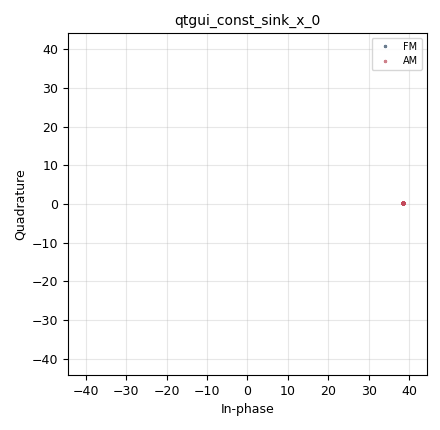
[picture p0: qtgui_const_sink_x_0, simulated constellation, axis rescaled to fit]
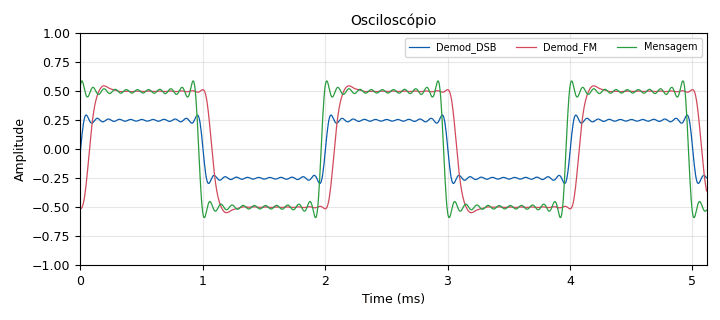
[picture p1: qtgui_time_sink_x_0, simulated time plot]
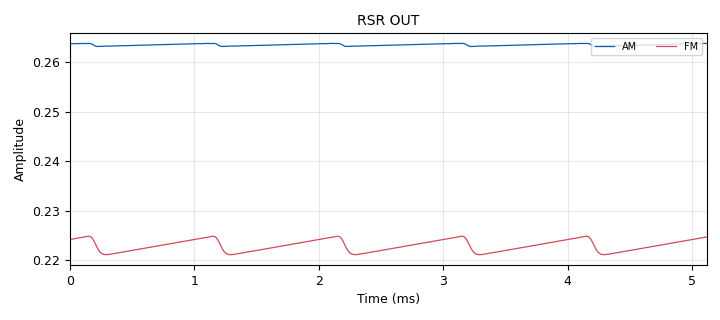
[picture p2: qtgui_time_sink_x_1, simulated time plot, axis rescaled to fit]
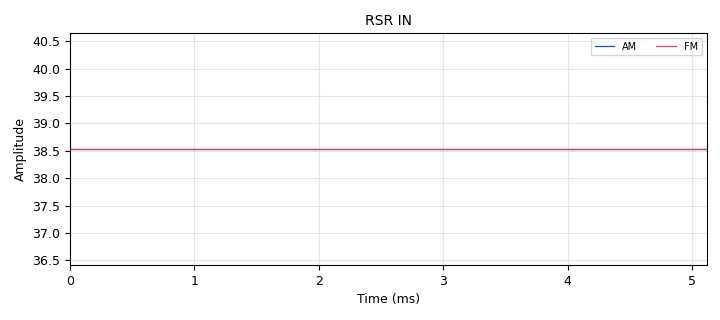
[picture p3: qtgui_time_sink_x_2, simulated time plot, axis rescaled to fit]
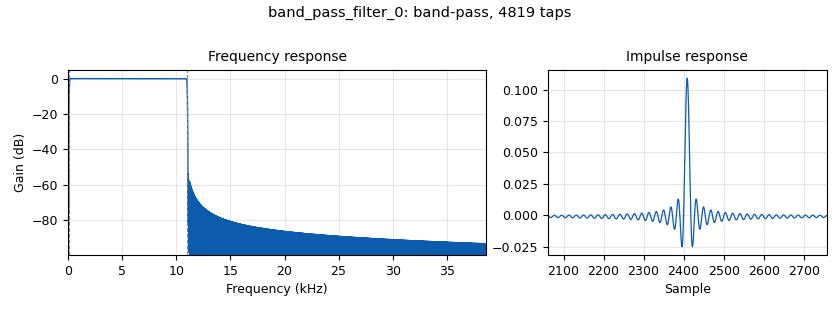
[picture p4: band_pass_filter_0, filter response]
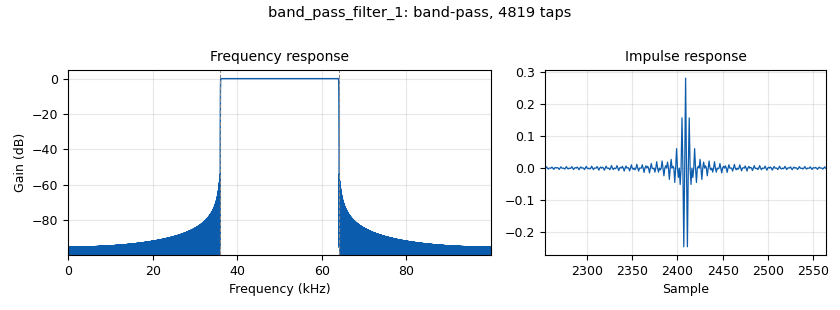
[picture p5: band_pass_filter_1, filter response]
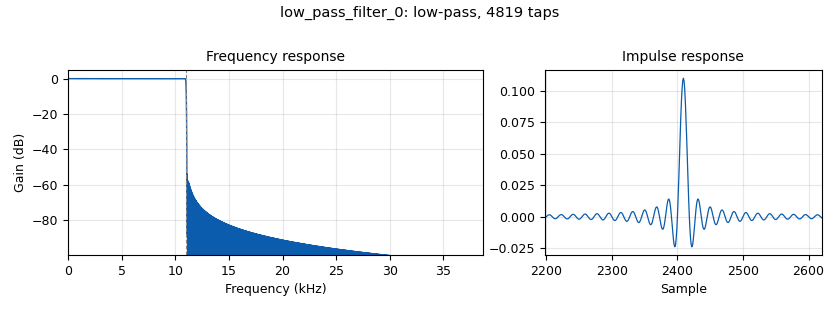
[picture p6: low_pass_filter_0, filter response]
options:
  parameters:
    author: pedro
    generate_options: qt_gui
    id: m180108140_Exp06_AR02
    output_language: python
    title: AR02
  states: {}

blocks:
- name: A
  id: variable_qtgui_range
  parameters:
    gui_hint: (1,4,1,1)
    orient: Qt.Horizontal
    start: '0'
    step: '0.1'
    stop: '1'
    value: '0.5'
  states: {}
- name: Delay_AM
  id: variable_qtgui_range
  parameters:
    gui_hint: (5,4,1,1)
    orient: Qt.Horizontal
    start: '0'
    step: '1'
    stop: '400'
    value: '0'
  states: {}
- name: Delay_FM
  id: variable_qtgui_range
  parameters:
    gui_hint: (6,4,1,1)
    orient: Qt.Horizontal
    start: '0'
    step: '1'
    stop: '400'
    value: '0'
  states: {}
- name: G_demod_AM
  id: variable_qtgui_range
  parameters:
    gui_hint: (4,4,1,1)
    orient: Qt.Horizontal
    start: '0'
    step: '1'
    stop: '100'
    value: '1'
  states: {}
- name: G_ruido_AM
  id: variable_qtgui_range
  parameters:
    gui_hint: (2,4,1,1)
    orient: Qt.Horizontal
    start: '0'
    step: '0.1'
    stop: '10'
    value: '0'
  states: {}
- name: G_ruido_FM
  id: variable_qtgui_range
  parameters:
    gui_hint: (3,4,1,1)
    orient: Qt.Horizontal
    start: '0'
    step: '0.1'
    stop: '10'
    value: '0'
  states: {}
- name: pi
  id: variable
  parameters:
    value: '3.14159265359'
  states: {}
- name: samp_rate
  id: variable
  parameters:
    value: '200000'
  states: {}
- name: analog_noise_source_x_0
  id: analog_noise_source_x
  parameters:
    amp: '1'
    noise_type: analog.GR_GAUSSIAN
    seed: '0'
    type: complex
  states: {}
- name: analog_pll_freqdet_cf_0
  id: analog_pll_freqdet_cf
  parameters:
    max_freq: '2.01056'
    min_freq: '1.13094'
    w: '0.06283'
  states: {}
- name: analog_sig_source_x_0
  id: analog_sig_source_x
  parameters:
    amp: 2*A
    freq: '500'
    offset: '-A'
    phase: '0'
    samp_rate: samp_rate
    type: float
    waveform: analog.GR_SQR_WAVE
  states: {}
- name: analog_sig_source_x_0_0
  id: analog_sig_source_x
  parameters:
    amp: '1'
    freq: '50000'
    offset: '0'
    phase: '0'
    samp_rate: samp_rate
    type: complex
    waveform: analog.GR_COS_WAVE
  states: {}
- name: band_pass_filter_0
  id: band_pass_filter
  parameters:
    decim: '1'
    gain: '1'
    high_cutoff_freq: '11000'
    low_cutoff_freq: '100'
    samp_rate: samp_rate
    type: fir_filter_fff
    width: '100'
    win: firdes.WIN_HAMMING
  states: {}
- name: band_pass_filter_1
  id: band_pass_filter
  parameters:
    decim: '1'
    gain: '1'
    high_cutoff_freq: '64000'
    low_cutoff_freq: '36000'
    samp_rate: samp_rate
    type: fir_filter_fff
    width: '100'
    win: firdes.WIN_HAMMING
  states: {}
- name: band_pass_filter_1_0
  id: band_pass_filter
  parameters:
    decim: '1'
    gain: '1'
    high_cutoff_freq: '64000'
    low_cutoff_freq: '36000'
    samp_rate: samp_rate
    type: fir_filter_ccf
    width: '100'
    win: firdes.WIN_HAMMING
  states: {}
- name: blocks_abs_xx_0
  id: blocks_abs_xx
  parameters:
    type: float
  states: {}
- name: blocks_add_const_vxx_0
  id: blocks_add_const_vxx
  parameters:
    const: '1'
    type: float
  states: {}
- name: blocks_add_const_vxx_1
  id: blocks_add_const_vxx
  parameters:
    const: '-1.57075'
    type: float
  states: {}
- name: blocks_add_xx_0
  id: blocks_add_xx
  parameters:
    type: float
  states: {}
- name: blocks_add_xx_1
  id: blocks_add_xx
  parameters:
    type: complex
  states: {}
- name: blocks_complex_to_real_0
  id: blocks_complex_to_real
  parameters: {}
  states: {}
- name: blocks_complex_to_real_1
  id: blocks_complex_to_real
  parameters: {}
  states: {}
- name: blocks_complex_to_real_2
  id: blocks_complex_to_real
  parameters: {}
  states: {state: disabled}
- name: blocks_delay_0
  id: blocks_delay
  parameters:
    delay: Delay_AM
    type: float
  states: {}
- name: blocks_delay_0_0
  id: blocks_delay
  parameters:
    delay: Delay_FM
    type: float
  states: {}
- name: blocks_divide_xx_0
  id: blocks_divide_xx
  parameters:
    type: float
  states: {}
- name: blocks_divide_xx_0_0
  id: blocks_divide_xx
  parameters:
    type: float
  states: {}
- name: blocks_divide_xx_1
  id: blocks_divide_xx
  parameters:
    type: float
  states: {}
- name: blocks_divide_xx_1_0
  id: blocks_divide_xx
  parameters:
    type: float
  states: {}
- name: blocks_float_to_complex_0
  id: blocks_float_to_complex
  parameters: {}
  states: {}
- name: blocks_float_to_complex_0_0
  id: blocks_float_to_complex
  parameters: {}
  states: {}
- name: blocks_multiply_const_vxx_0
  id: blocks_multiply_const_vxx
  parameters:
    const: G_ruido_AM
    type: float
  states: {}
- name: blocks_multiply_const_vxx_0_0
  id: blocks_multiply_const_vxx
  parameters:
    const: G_ruido_FM
    type: complex
  states: {}
- name: blocks_multiply_const_vxx_1
  id: blocks_multiply_const_vxx
  parameters:
    const: G_demod_AM
    type: float
  states: {}
- name: blocks_multiply_const_vxx_2
  id: blocks_multiply_const_vxx
  parameters:
    const: '3.97888'
    type: float
  states: {}
- name: blocks_multiply_xx_0
  id: blocks_multiply_xx
  parameters:
    type: float
  states: {}
- name: blocks_multiply_xx_1
  id: blocks_multiply_xx
  parameters:
    type: complex
  states: {}
- name: blocks_nlog10_ff_0
  id: blocks_nlog10_ff
  parameters:
    k: '0'
  states: {}
- name: blocks_nlog10_ff_0_0
  id: blocks_nlog10_ff
  parameters:
    k: '0'
  states: {}
- name: blocks_nlog10_ff_0_1
  id: blocks_nlog10_ff
  parameters:
    k: '0'
  states: {}
- name: blocks_nlog10_ff_1
  id: blocks_nlog10_ff
  parameters:
    k: '0'
  states: {}
- name: blocks_nlog10_ff_2
  id: blocks_nlog10_ff
  parameters:
    k: '0'
  states: {}
- name: blocks_nlog10_ff_3
  id: blocks_nlog10_ff
  parameters:
    k: '0'
  states: {}
- name: blocks_null_sink_0
  id: blocks_null_sink
  parameters:
    type: complex
  states: {}
- name: blocks_rms_xx_0
  id: blocks_rms_xx
  parameters:
    alpha: '0.0001'
    type: float
  states: {}
- name: blocks_rms_xx_0_0
  id: blocks_rms_xx
  parameters:
    alpha: '0.0001'
    type: float
  states: {}
- name: blocks_rms_xx_0_0_0
  id: blocks_rms_xx
  parameters:
    alpha: '0.0001'
    type: complex
  states: {}
- name: blocks_rms_xx_0_1
  id: blocks_rms_xx
  parameters:
    alpha: '0.0001'
    type: complex
  states: {}
- name: blocks_rms_xx_1
  id: blocks_rms_xx
  parameters:
    alpha: '0.0001'
    type: float
  states: {}
- name: blocks_rms_xx_2
  id: blocks_rms_xx
  parameters:
    alpha: '0.0001'
    type: float
  states: {}
- name: blocks_rms_xx_2_0
  id: blocks_rms_xx
  parameters:
    alpha: '0.0001'
    type: float
  states: {}
- name: blocks_sub_xx_0
  id: blocks_sub_xx
  parameters:
    type: float
  states: {}
- name: blocks_sub_xx_0_0
  id: blocks_sub_xx
  parameters:
    type: float
  states: {}
- name: blocks_throttle_0
  id: blocks_throttle
  parameters:
    samples_per_second: samp_rate
    type: complex
  states: {}
- name: blocks_throttle_1
  id: blocks_throttle
  parameters:
    samples_per_second: samp_rate
    type: complex
  states: {}
- name: blocks_vco_c_0
  id: blocks_vco_c
  parameters:
    amplitude: '1'
    samp_rate: samp_rate
    sensitivity: 8000*2*pi
  states: {}
- name: dc_blocker_xx_0
  id: dc_blocker_xx
  parameters:
    length: '400'
    long_form: 'True'
    type: ff
  states: {}
- name: low_pass_filter_0
  id: low_pass_filter
  parameters:
    cutoff_freq: '11000'
    decim: '1'
    gain: '1'
    samp_rate: samp_rate
    type: fir_filter_fff
    width: '100'
    win: firdes.WIN_HAMMING
  states: {}
- name: low_pass_filter_1
  id: low_pass_filter
  parameters:
    cutoff_freq: '11000'
    decim: '1'
    gain: '1'
    samp_rate: samp_rate
    type: fir_filter_fff
    width: '100'
    win: firdes.WIN_HAMMING
  states: {}
- name: qtgui_const_sink_x_0
  id: qtgui_const_sink_x
  parameters:
    grid: 'True'
    gui_hint: (4,3,3,1)
    label1: FM
    label2: AM
    nconnections: '2'
    size: '1024'
    tr_mode: qtgui.TRIG_MODE_AUTO
    type: complex
  states: {}
- name: qtgui_time_sink_x_0
  id: qtgui_time_sink_x
  parameters:
    grid: 'True'
    gui_hint: (1,1,3,2)
    label1: Demod_DSB
    label2: Demod_FM
    label3: Mensagem
    name: Osciloscópio
    nconnections: '3'
    size: '1024'
    srate: samp_rate
    tr_mode: qtgui.TRIG_MODE_AUTO
    type: float
  states: {}
- name: qtgui_time_sink_x_1
  id: qtgui_time_sink_x
  parameters:
    grid: 'True'
    gui_hint: (4,1,3,1)
    label1: AM
    label2: FM
    name: RSR OUT
    nconnections: '2'
    size: '1024'
    srate: samp_rate
    tr_mode: qtgui.TRIG_MODE_AUTO
    type: float
    yunit: V
  states: {}
- name: qtgui_time_sink_x_2
  id: qtgui_time_sink_x
  parameters:
    grid: 'True'
    gui_hint: (4,2,3,1)
    label1: AM
    label2: FM
    name: RSR IN
    nconnections: '2'
    size: '1024'
    srate: samp_rate
    tr_mode: qtgui.TRIG_MODE_AUTO
    type: float
    yunit: V
  states: {}
- name: qtgui_time_sink_x_3
  id: qtgui_time_sink_x
  parameters:
    grid: 'True'
    gui_hint: (1,3,3,1)
    label1: AM
    label2: FM
    name: Pot Ruído IN
    nconnections: '2'
    size: '1024'
    srate: samp_rate
    tr_mode: qtgui.TRIG_MODE_AUTO
    type: float
  states: {}
- name: qtgui_time_sink_x_4
  id: qtgui_time_sink_x
  parameters:
    nconnections: '3'
    size: '1024'
    srate: samp_rate
    type: float
  states: {state: disabled}
- name: qtgui_time_sink_x_5
  id: qtgui_time_sink_x
  parameters:
    size: '1024'
    srate: samp_rate
    type: complex
  states: {state: disabled}
- name: virtual_sink_0
  id: virtual_sink
  parameters:
    stream_id: mensagem
  states: {}
- name: virtual_sink_1
  id: virtual_sink
  parameters:
    stream_id: ruido_AM
  states: {}
- name: virtual_sink_10
  id: virtual_sink
  parameters:
    stream_id: RSR_in_AM
  states: {}
- name: virtual_sink_10_0
  id: virtual_sink
  parameters:
    stream_id: Ps_in_AM
  states: {}
- name: virtual_sink_10_0_0
  id: virtual_sink
  parameters:
    stream_id: Pot_ruido_AM
  states: {}
- name: virtual_sink_10_0_0_0
  id: virtual_sink
  parameters:
    stream_id: Pot_ruido_FM
  states: {}
- name: virtual_sink_10_0_1
  id: virtual_sink
  parameters:
    stream_id: Ps_in_FM
  states: {}
- name: virtual_sink_10_1
  id: virtual_sink
  parameters:
    stream_id: RSR_in_FM
  states: {}
- name: virtual_sink_11
  id: virtual_sink
  parameters:
    stream_id: ruido_FM_BP
  states: {}
- name: virtual_sink_12
  id: virtual_sink
  parameters:
    stream_id: Ps_out
  states: {}
- name: virtual_sink_13
  id: virtual_sink
  parameters:
    stream_id: RSR_out_AM
  states: {}
- name: virtual_sink_13_0
  id: virtual_sink
  parameters:
    stream_id: RSR_out_FM
  states: {}
- name: virtual_sink_1_0
  id: virtual_sink
  parameters:
    stream_id: ruido_FM
  states: {}
- name: virtual_sink_2
  id: virtual_sink
  parameters:
    stream_id: portadora_AM
  states: {}
- name: virtual_sink_2_0
  id: virtual_sink
  parameters:
    stream_id: portadora_FM
  states: {}
- name: virtual_sink_3
  id: virtual_sink
  parameters:
    stream_id: Mod_DSB
  states: {state: disabled}
- name: virtual_sink_4
  id: virtual_sink
  parameters:
    stream_id: Mod_DSB_in
  states: {}
- name: virtual_sink_5
  id: virtual_sink
  parameters:
    stream_id: Demod_DSB
  states: {}
- name: virtual_sink_6
  id: virtual_sink
  parameters:
    stream_id: Mod_FM_in
  states: {}
- name: virtual_sink_7
  id: virtual_sink
  parameters:
    stream_id: Mod_FM
  states: {state: disabled}
- name: virtual_sink_8
  id: virtual_sink
  parameters:
    stream_id: Demod_FM
  states: {}
- name: virtual_sink_9
  id: virtual_sink
  parameters:
    stream_id: ruido_AM_BP
  states: {}
- name: virtual_source_0
  id: virtual_source
  parameters:
    stream_id: mensagem
  states: {}
- name: virtual_source_0_0
  id: virtual_source
  parameters:
    stream_id: portadora_AM
  states: {}
- name: virtual_source_0_0_0
  id: virtual_source
  parameters:
    stream_id: ruido_AM
  states: {}
- name: virtual_source_1
  id: virtual_source
  parameters:
    stream_id: mensagem
  states: {}
- name: virtual_source_10
  id: virtual_source
  parameters:
    stream_id: Pot_ruido_FM
  states: {}
- name: virtual_source_11
  id: virtual_source
  parameters:
    stream_id: Mod_DSB
  states: {state: disabled}
- name: virtual_source_11_0
  id: virtual_source
  parameters:
    stream_id: Demod_FM
  states: {state: disabled}
- name: virtual_source_12
  id: virtual_source
  parameters:
    stream_id: portadora_FM
  states: {state: disabled}
- name: virtual_source_13
  id: virtual_source
  parameters:
    stream_id: Demod_DSB
  states: {state: disabled}
- name: virtual_source_2
  id: virtual_source
  parameters:
    stream_id: portadora_FM
  states: {}
- name: virtual_source_3
  id: virtual_source
  parameters:
    stream_id: ruido_FM
  states: {}
- name: virtual_source_4
  id: virtual_source
  parameters:
    stream_id: Mod_DSB_in
  states: {}
- name: virtual_source_4_0
  id: virtual_source
  parameters:
    stream_id: ruido_AM
  states: {}
- name: virtual_source_4_0_0
  id: virtual_source
  parameters:
    stream_id: ruido_FM
  states: {}
- name: virtual_source_4_1
  id: virtual_source
  parameters:
    stream_id: Mod_FM_in
  states: {}
- name: virtual_source_5
  id: virtual_source
  parameters:
    stream_id: Demod_DSB
  states: {}
- name: virtual_source_5_0
  id: virtual_source
  parameters:
    stream_id: Demod_FM
  states: {}
- name: virtual_source_6
  id: virtual_source
  parameters:
    stream_id: mensagem
  states: {}
- name: virtual_source_7
  id: virtual_source
  parameters:
    stream_id: RSR_out_AM
  states: {}
- name: virtual_source_7_0
  id: virtual_source
  parameters:
    stream_id: RSR_out_FM
  states: {}
- name: virtual_source_8
  id: virtual_source
  parameters:
    stream_id: RSR_in_AM
  states: {}
- name: virtual_source_8_0
  id: virtual_source
  parameters:
    stream_id: RSR_in_FM
  states: {}
- name: virtual_source_9
  id: virtual_source
  parameters:
    stream_id: Pot_ruido_AM
  states: {}

connections:
- [analog_noise_source_x_0, '0', blocks_throttle_0, '0']
- [analog_pll_freqdet_cf_0, '0', blocks_add_const_vxx_1, '0']
- [analog_sig_source_x_0, '0', band_pass_filter_0, '0']
- [analog_sig_source_x_0_0, '0', blocks_throttle_1, '0']
- [band_pass_filter_0, '0', virtual_sink_0, '0']
- [band_pass_filter_1, '0', blocks_rms_xx_0_0, '0']
- [band_pass_filter_1, '0', virtual_sink_9, '0']
- [band_pass_filter_1_0, '0', blocks_rms_xx_0_0_0, '0']
- [band_pass_filter_1_0, '0', virtual_sink_11, '0']
- [blocks_abs_xx_0, '0', low_pass_filter_0, '0']
- [blocks_add_const_vxx_0, '0', blocks_multiply_xx_0, '0']
- [blocks_add_const_vxx_1, '0', blocks_multiply_const_vxx_2, '0']
- [blocks_add_xx_0, '0', blocks_abs_xx_0, '0']
- [blocks_add_xx_0, '0', virtual_sink_3, '0']
- [blocks_add_xx_1, '0', analog_pll_freqdet_cf_0, '0']
- [blocks_add_xx_1, '0', blocks_complex_to_real_2, '0']
- [blocks_complex_to_real_0, '0', blocks_multiply_const_vxx_0, '0']
- [blocks_complex_to_real_1, '0', virtual_sink_2, '0']
- [blocks_complex_to_real_2, '0', virtual_sink_7, '0']
- [blocks_delay_0, '0', blocks_sub_xx_0, '0']
- [blocks_delay_0, '0', qtgui_time_sink_x_0, '0']
- [blocks_delay_0_0, '0', blocks_sub_xx_0_0, '0']
- [blocks_delay_0_0, '0', qtgui_time_sink_x_0, '1']
- [blocks_divide_xx_0, '0', virtual_sink_10, '0']
- [blocks_divide_xx_0_0, '0', virtual_sink_10_1, '0']
- [blocks_divide_xx_1, '0', virtual_sink_13, '0']
- [blocks_divide_xx_1_0, '0', virtual_sink_13_0, '0']
- [blocks_float_to_complex_0, '0', qtgui_const_sink_x_0, '0']
- [blocks_float_to_complex_0_0, '0', qtgui_const_sink_x_0, '1']
- [blocks_multiply_const_vxx_0, '0', virtual_sink_1, '0']
- [blocks_multiply_const_vxx_0_0, '0', virtual_sink_1_0, '0']
- [blocks_multiply_const_vxx_1, '0', virtual_sink_5, '0']
- [blocks_multiply_const_vxx_2, '0', low_pass_filter_1, '0']
- [blocks_multiply_xx_0, '0', blocks_add_xx_0, '1']
- [blocks_multiply_xx_0, '0', virtual_sink_4, '0']
- [blocks_multiply_xx_1, '0', blocks_add_xx_1, '1']
- [blocks_multiply_xx_1, '0', virtual_sink_6, '0']
- [blocks_nlog10_ff_0, '0', blocks_float_to_complex_0_0, '1']
- [blocks_nlog10_ff_0, '0', qtgui_time_sink_x_1, '0']
- [blocks_nlog10_ff_0_0, '0', blocks_float_to_complex_0, '1']
- [blocks_nlog10_ff_0_0, '0', qtgui_time_sink_x_1, '1']
- [blocks_nlog10_ff_0_1, '0', blocks_float_to_complex_0_0, '0']
- [blocks_nlog10_ff_0_1, '0', qtgui_time_sink_x_2, '0']
- [blocks_nlog10_ff_1, '0', blocks_float_to_complex_0, '0']
- [blocks_nlog10_ff_1, '0', qtgui_time_sink_x_2, '1']
- [blocks_nlog10_ff_2, '0', qtgui_time_sink_x_3, '0']
- [blocks_nlog10_ff_3, '0', qtgui_time_sink_x_3, '1']
- [blocks_rms_xx_0, '0', blocks_divide_xx_0, '0']
- [blocks_rms_xx_0, '0', virtual_sink_10_0, '0']
- [blocks_rms_xx_0_0, '0', blocks_divide_xx_0, '1']
- [blocks_rms_xx_0_0, '0', virtual_sink_10_0_0, '0']
- [blocks_rms_xx_0_0_0, '0', blocks_divide_xx_0_0, '1']
- [blocks_rms_xx_0_0_0, '0', virtual_sink_10_0_0_0, '0']
- [blocks_rms_xx_0_1, '0', blocks_divide_xx_0_0, '0']
- [blocks_rms_xx_0_1, '0', virtual_sink_10_0_1, '0']
- [blocks_rms_xx_1, '0', blocks_divide_xx_1, '0']
- [blocks_rms_xx_1, '0', blocks_divide_xx_1_0, '0']
- [blocks_rms_xx_1, '0', virtual_sink_12, '0']
- [blocks_rms_xx_2, '0', blocks_divide_xx_1, '1']
- [blocks_rms_xx_2_0, '0', blocks_divide_xx_1_0, '1']
- [blocks_sub_xx_0, '0', blocks_rms_xx_2, '0']
- [blocks_sub_xx_0_0, '0', blocks_rms_xx_2_0, '0']
- [blocks_throttle_0, '0', blocks_complex_to_real_0, '0']
- [blocks_throttle_0, '0', blocks_multiply_const_vxx_0_0, '0']
- [blocks_throttle_0, '0', blocks_null_sink_0, '0']
- [blocks_throttle_1, '0', blocks_complex_to_real_1, '0']
- [blocks_throttle_1, '0', virtual_sink_2_0, '0']
- [blocks_vco_c_0, '0', blocks_multiply_xx_1, '0']
- [dc_blocker_xx_0, '0', blocks_multiply_const_vxx_1, '0']
- [low_pass_filter_0, '0', dc_blocker_xx_0, '0']
- [low_pass_filter_1, '0', virtual_sink_8, '0']
- [virtual_source_0, '0', blocks_add_const_vxx_0, '0']
- [virtual_source_0_0, '0', blocks_multiply_xx_0, '1']
- [virtual_source_0_0_0, '0', blocks_add_xx_0, '0']
- [virtual_source_1, '0', blocks_vco_c_0, '0']
- [virtual_source_10, '0', blocks_nlog10_ff_3, '0']
- [virtual_source_11, '0', qtgui_time_sink_x_4, '0']
- [virtual_source_11_0, '0', qtgui_time_sink_x_4, '1']
- [virtual_source_12, '0', qtgui_time_sink_x_5, '0']
- [virtual_source_13, '0', qtgui_time_sink_x_4, '2']
- [virtual_source_2, '0', blocks_multiply_xx_1, '1']
- [virtual_source_3, '0', blocks_add_xx_1, '0']
- [virtual_source_4, '0', blocks_rms_xx_0, '0']
- [virtual_source_4_0, '0', band_pass_filter_1, '0']
- [virtual_source_4_0_0, '0', band_pass_filter_1_0, '0']
- [virtual_source_4_1, '0', blocks_rms_xx_0_1, '0']
- [virtual_source_5, '0', blocks_delay_0, '0']
- [virtual_source_5_0, '0', blocks_delay_0_0, '0']
- [virtual_source_6, '0', blocks_rms_xx_1, '0']
- [virtual_source_6, '0', blocks_sub_xx_0, '1']
- [virtual_source_6, '0', blocks_sub_xx_0_0, '1']
- [virtual_source_6, '0', qtgui_time_sink_x_0, '2']
- [virtual_source_7, '0', blocks_nlog10_ff_0, '0']
- [virtual_source_7_0, '0', blocks_nlog10_ff_0_0, '0']
- [virtual_source_8, '0', blocks_nlog10_ff_0_1, '0']
- [virtual_source_8_0, '0', blocks_nlog10_ff_1, '0']
- [virtual_source_9, '0', blocks_nlog10_ff_2, '0']

metadata:
  file_format: 1
